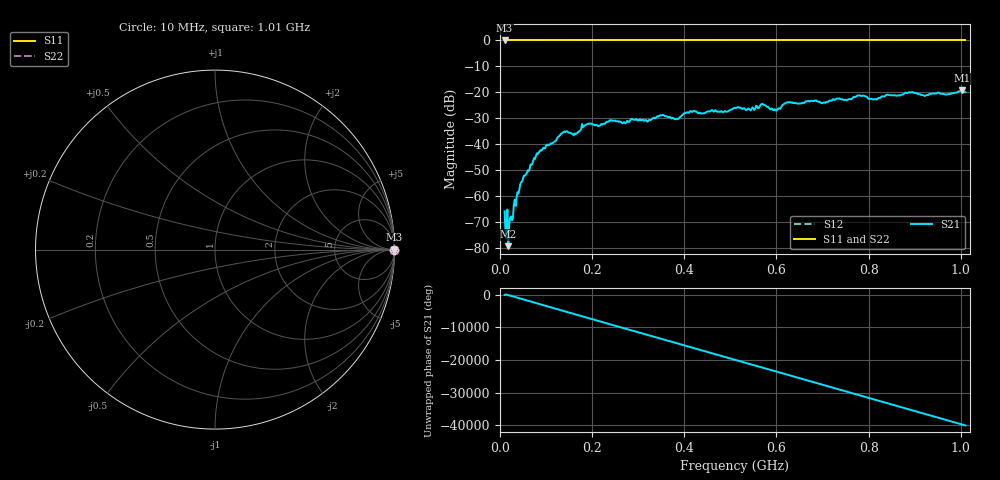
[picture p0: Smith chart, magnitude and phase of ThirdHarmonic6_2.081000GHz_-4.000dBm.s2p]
! 8/17/2025 12:54:52 AM
! C:\ANRITSUVNA\TEMP\TEMP.S2P
! CHANNEL.1
! TR.MEASUREMENT
! RAW.DATA
! RF.CORRECTION.OFF
! AVERAGING.OFF
! IF.BANDWIDTH: 5KHZ
! SWEEPTYPE:  FREQ.SWEEP(Linear)
! Reference Plane Port Info
! PORT:  PORT1  PORT2
! DISTANCE:  0  m  0  m
! TIME:  0  s  0  s
! PHASE.OFFSET:  0  deg.  0  deg.
! LOSS:  0  dB  0  dB
! REF.LOSS:  0  dB  0  dB
! REF.FREQ:  0  Hz  0  Hz
! Power Info
! POWER:  -20  dBm  -20  dBm
! EFF.POWER:  -20  dBm  -20  dBm
! SOURCE.ATTEN:  0  dB  0  dB
! TEST.ATTEN:  0  dB  0  dB
# GHZ S RI R 50.0
! FREQ.GHZ  S11RE  S11IM  S21RE  S21IM  S12RE  S12IM  S22RE  S22IM
!; PortSelection: Port_12
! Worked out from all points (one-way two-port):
!   501 points, 10 MHz to 1.01 GHz, reference 50 ohm
!   highest |S21| = -19.27 dB at 1.002 GHz (marker M1); lowest = -79.3 dB at 18 MHz (marker M2)
!   lowest |S11| = 0.0 dB at 10 MHz (marker M3)
!   |S11| at or under -10 dB: nowhere
!   |S22| runs from 0.0 to 0.0 dB; largest |S21 - S12| = 1.1
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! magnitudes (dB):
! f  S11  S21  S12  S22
! 10 MHz  0.0  -65.9  0.0  0.0
! 12 MHz  0.0  -74.3  0.0  0.0
! 16 MHz  0.0  -65.2  0.0  0.0
! 18 MHz  0.0  -79.3  0.0  0.0
! 22 MHz  0.0  -68.4  0.0  0.0
! 34 MHz  0.0  -63.8  0.0  0.0
! 48 MHz  0.0  -54.4  0.0  0.0
! 82 MHz  0.0  -43.7  0.0  0.0
! 136 MHz  0.0  -35.6  0.0  0.0
! 164 MHz  0.0  -36.1  0.0  0.0
! 178 MHz  0.0  -32.2  0.0  0.0
! 344 MHz  0.0  -29.3  0.0  0.0
! 384 MHz  0.0  -30.2  0.0  0.0
! 416 MHz  0.0  -27.5  0.0  0.0
! 510 MHz  0.0  -26.0  0.0  0.0
! 570 MHz  0.0  -24.5  0.0  0.0
! 596 MHz  0.0  -26.5  0.0  0.0
! 624 MHz  0.0  -23.9  0.0  0.0
! 678 MHz  0.0  -23.3  0.0  0.0
! 844 MHz  0.0  -21.1  0.0  0.0
! 1.002 GHz  0.0  -19.3  0.0  0.0
! 1.01 GHz  0.0  -19.9  0.0  0.0
